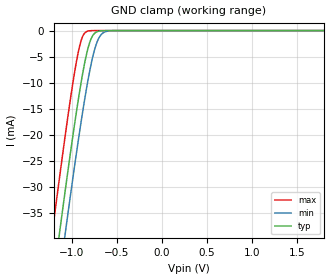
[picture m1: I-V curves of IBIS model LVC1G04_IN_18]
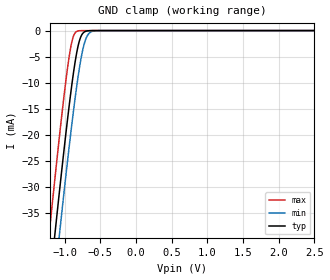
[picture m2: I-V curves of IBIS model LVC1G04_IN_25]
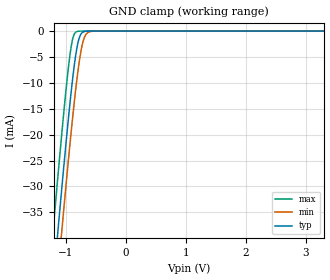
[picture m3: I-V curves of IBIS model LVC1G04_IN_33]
| TEXAS INSTRUMENTS INCORPORATED
| Standard Linear and Logic Group
| IBIS Model of SN74LVC1G04
| SINGLE INVERTER GATE
| This file contains package information for the following:
|  SON 6-pin (DSF) package as [Component] LVC1G04_DSF
|  SOT 5-pin (DCK) package as [Component] LVC1G04_DCK
|  SOT 5-pin (DBV) package as [Component] LVC1G04_DBV
|  NanoStar WCSP 5-pin (YEA) package as [Component] LVC1G04_YEA
|  NanoFree WCSP 5-pin (YZA) package as [Component] LVC1G04_YZA
|  NanoStar WCSP 5-pin (YEP) package as [Component] LVC1G04_YEP
|  NanoFree WCSP 5-pin (YZP) package as [Component] LVC1G04_YZP
| This device can be powered at the following Vccs:
|  1.8 volt Vcc
|  2.5 volt Vcc
|  3.3 volt Vcc
|  5 volt Vcc
| This file provides unique models under the [Model Selector] for each Vcc.
| For operation at a specific Vcc, select the appropriate model after each
| [Model Selector] keyword.
[IBIS Ver]   3.2
[Comment char]  |_char
[File Name]   sn74lvc1g04.ibs
[File Rev]   1.4 | d_die
[Date]   03/05/2014
[Source]
| Texas Instruments Incorporated.
| Analog-eLab Design Center, HPA
| 12500 TI Blvd
| Dallas, TX -75243
[Notes]   Revision History:
| The following is an IBIS list for the SN74LVC1G04.
| Please contact sllibis@ti.com with questions and
| comments concerning SLL IBIS models.
| - FILE REV HISTORY
| - 1.2 YEA, YZA, YEP, and YZP packages added on 08/17/04
| - The SN74LVC1G04 inputs have no power clamp diode.
|   Therefore, the input power clamp data has been deleted.
| - Due to the fact that the Device is 5.5-V Input tolarent,
|   the pulldown model has some Non-Monotonic Warnings.
| - End point warning due to AC and DC mismatch.
| - 1.3 Modified R_load to 50 ohm for rising/falling data
| - 1.4 DSF package added 03/05/2014.
[Disclaimer]
| Property of Texas Instruments Incorporated.  Unauthorized
| reproduction and/or distribution is strictly prohibited.
| This product is protected under copyright law.
| Created  2007, (C) Copyright  2007, Texas Instruments
| Incorporated, All Rights Reserved
| UNLESS THERE IS A SIGNED, WRITTEN AGREEMENT TO THE
| CONTRARY, TEXAS INSTRUMENTS (TI) IS PROVIDING THE IBIS
| MODELS  AND WITHOUT ANY WARRANTY, EXPRESSED OR
| MPLIED.  TI assumes no liability for:
|  1) the accuracy of the IBIS models provided to your
|   company;
|  2) the proper functioning of these IBIS Models in your
|   design or for any resulting applications; or
|  3) infringement of patents, copyrights or intellectual
|   property rights resulting from your use of these IBIS
|   models.
| TI provides IBIS Models as a service to our customers.
| You and your company shall not distribute, sell or give
| these models to anyone else without prior written
| permission from TI.
| TI reserves the right to make changes to our products or
| to discontinue any semiconductor product or service
| without notice, and advises our customers to obtain the
| latest version of relevant information to verify, before
| placing orders, that the information being relied on is
| current.
| Please be aware that your receipt and use of the IBIS
| information provided shall serve as acceptance of these
| terms and conditions.  If you do not accept these terms,
| you should return or destroy the IBIS models and any
| other accompanying information immediately.
[Copyright]
(C) Copyright 2014 Texas Instruments Incorporated.All rights reserved.
| Component LVC1G04_DSF 6-pin SON
[Component]   LVC1G04_DSF
[Manufacturer]   Texas Instruments, Inc.
[Package]
|   typ   min   max
R_pkg   0.041145   0.03325   0.04904
L_pkg   0.422435nH  0.33414nH   0.51073nH
C_pkg   0.109645pF  0.10407pF   0.11522pF
[Pin]   signal_name   model_name   R_pin   L_pin   C_pin
1   nc   nc   0.00109   0.02796nH   0.07413pF
2   A   LVC1G04_IN   0.03325   0.33414nH   0.10407pF
3   GND   GND   0.04429   0.45885nH   0.11133pF
4   Y   LVC1G04_OUT   0.04904   0.51073nH   0.11522pF
5   nc   nc   0.00037   0.03788nH   0.07652pF
6   VCC   POWER   0.04377   0.44894nH   0.11085pF
| Component LVC1G04_DCK 5-pin SOT
[Component]   LVC1G04_DCK
[Manufacturer]   Texas Instruments, Inc.
[Package]
|   typ   min   max
R_pkg   2.000e-02   1.700e-02   2.500e-02
L_pkg   9.980e-10   8.810e-10   1.069e-09
C_pkg   1.460e-13   1.180e-13   2.050e-13
[Pin]   signal_name   model_name   R_pin   L_pin   C_pin
1   nc   nc   1.900e-02   1.069e-09   1.620e-13
2   A   LVC1G04_IN   1.800e-02   8.810e-10   1.210e-13
3   GND   GND   1.700e-02   1.031e-09   2.050e-13
4   Y   LVC1G04_OUT   2.000e-02   9.600e-10   1.240e-13
5   VCC   POWER   2.500e-02   1.049e-09   1.180e-13
| Component LVC1G04_DBV 5-pin SOT
[Component]   LVC1G04_DBV
[Manufacturer]   Texas Instruments, Inc.
[Package]
|   typ   min   max
R_pkg   2.500e-02   2.100e-02   2.900e-02
L_pkg   1.529e-09   1.312e-09   1.906e-09
C_pkg   1.560e-13   1.100e-13   2.400e-13
[Pin]   signal_name   model_name   R_pin   L_pin   C_pin
1   nc   nc   2.100e-02   1.511e-09   1.440e-13
2   A   LVC1G04_IN   2.300e-02   1.312e-09   1.380e-13
3   GND   GND   2.900e-02   1.906e-09   2.400e-13
4   Y   LVC1G04_OUT   2.600e-02   1.541e-09   1.500e-13
5   VCC   POWER   2.500e-02   1.374e-09   1.100e-13
| Component LVC1G04_YEA 5-pin NanoStar WCSP
[Component]   LVC1G04_YEA
[Manufacturer]   Texas Instruments, Inc.
[Package]
|   typ   min   max
R_pkg   0.001   0.001   0.001
L_pkg   0.021nH   0.021nH   0.021nH
C_pkg   0.046pF   0.045pF   0.047pF
[Pin]   signal_name   model_name   R_pin   L_pin   C_pin
1   DNU   NC   0.001   0.021nH   0.046pF
2   A   LVC1G04_IN   0.001   0.021nH   0.047pF
3   GND   GND   0.001   0.021nH   0.046pF
4   Y   LVC1G04_OUT   0.001   0.021nH   0.045pF
5   VCC   POWER   0.001   0.021nH   0.045pF
| Component LVC1G04_YZA 5-pin NanoFree WCSP
[Component]   LVC1G04_YZA
[Manufacturer]   Texas Instruments, Inc.
[Package]
|   typ   min   max
R_pkg   0.001   0.001   0.001
L_pkg   0.021nH   0.021nH   0.021nH
C_pkg   0.046pF   0.045pF   0.047pF
[Pin]   signal_name   model_name   R_pin   L_pin   C_pin
1   DNU   NC   0.001   0.021nH   0.046pF
2   A   LVC1G04_IN   0.001   0.021nH   0.047pF
3   GND   GND   0.001   0.021nH   0.046pF
4   Y   LVC1G04_OUT   0.001   0.021nH   0.045pF
5   VCC   POWER   0.001   0.021nH   0.045pF
| Component LVC1G04_YEP 5-pin NanoStar WCSP
[Component]   LVC1G04_YEP
[Manufacturer]   Texas Instruments, Inc.
[Package]
|   typ   min   max
R_pkg   0.001   0.001   0.001
L_pkg   0.021nH   0.021nH   0.021nH
C_pkg   0.046pF   0.045pF   0.047pF
[Pin]   signal_name   model_name   R_pin   L_pin   C_pin
1   DNU   NC   0.001   0.021nH   0.046pF
2   A   LVC1G04_IN   0.001   0.021nH   0.047pF
3   GND   GND   0.001   0.021nH   0.046pF
4   Y   LVC1G04_OUT   0.001   0.021nH   0.045pF
5   VCC   POWER   0.001   0.021nH   0.045pF
| Component LVC1G04_YZP 5-pin NanoFree WCSP
[Component]   LVC1G04_YZP
[Manufacturer]   Texas Instruments, Inc.
[Package]
|   typ   min   max
R_pkg   0.001   0.001   0.001
L_pkg   0.021nH   0.021nH   0.021nH
C_pkg   0.046pF   0.045pF   0.047pF
[Pin]   signal_name   model_name   R_pin   L_pin   C_pin
1   DNU   NC   0.001   0.021nH   0.046pF
2   A   LVC1G04_IN   0.001   0.021nH   0.047pF
3   GND   GND   0.001   0.021nH   0.046pF
4   Y   LVC1G04_OUT   0.001   0.021nH   0.045pF
5   VCC   POWER   0.001   0.021nH   0.045pF
| Model LVC1G04_IN
[Model Selector]   LVC1G04_IN
LVC1G04_IN_18   1.8 volt Vcc
LVC1G04_IN_25   2.5 volt Vcc
LVC1G04_IN_33   3.3 volt Vcc
LVC1G04_IN_50   5 volt Vcc
| Model LVC1G04_OUT
[Model Selector]   LVC1G04_OUT
LVC1G04_OUT_18   1.8 volt Vcc
LVC1G04_OUT_25   2.5 volt Vcc
LVC1G04_OUT_33   3.3 volt Vcc
LVC1G04_OUT_50   5 volt Vcc
| Models and submodels in the file (8): LVC1G04_IN_18 (Input), LVC1G04_IN_25 (Input), LVC1G04_IN_33 (Input), LVC1G04_IN_50 (Input), LVC1G04_OUT_18 (Output), LVC1G04_OUT_25 (Output), LVC1G04_OUT_33 (Output), LVC1G04_OUT_50 (Output)
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[Model]   LVC1G04_IN_18
Model_type  Input
Vinl=0.5775
Vinh=1.2675
| variable   typ   min   max
C_comp   3.63pF   2.97pF   4.55pF
[Temperature Range]   40   100   -40
| Ambient temperature   25   85   -40
[Voltage range]   1.8   1.65   1.95
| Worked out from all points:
|   GND clamp passes 1 mA (typ) near -0.77 V on its own axis
[GND Clamp]
| LVC1G04_IN_18
|   Voltage   I(typ)   I(min)   I(max)
-5.5V     -655.2mA   -662.2mA   -646.6mA
-1.215V   -49.6mA    -57.88mA   -38.96mA
-1.135V   -39.07mA   -47.36mA   -28.42mA
-1.075V   -31.35mA   -39.6mA    -20.75mA
-1.055V   -28.82mA   -37.05mA   -18.27mA
-955mV    -16.68mA   -24.66mA   -6.874mA
-885mV    -9.098mA   -16.55mA   -1.486mA
-825mV    -3.922mA   -10.26mA   -137.1uA
-780mV    -1.472mA   -6.227mA   -17.15uA
-715mV    -205.4uA   -2.128mA   -808.5nA
-650mV    -22.01uA   -443.9uA   -37.93nA
1.8V      3.326pA    6.142pA    3.026pA
[Model]   LVC1G04_IN_25
Model_type  Input
Vinl=0.7
Vinh=1.7
| variable   typ   min   max
C_comp   3.56pF   2.85pF   4.65pF
[Temperature Range]   40   100   -40
| Ambient temperature   25   85   -40
[Voltage range]   2.5   2.3   2.7
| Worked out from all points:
|   GND clamp passes 1 mA (typ) near -0.77 V on its own axis
[GND Clamp]
| LVC1G04_IN_25
|   Voltage   I(typ)   I(min)   I(max)
-5.5V     -655.2mA   -662.2mA   -646.6mA
-1.215V   -49.6mA    -57.88mA   -38.96mA
-1.14V    -39.72mA   -48.01mA   -29.07mA
-1.12V    -37.12mA   -45.41mA   -26.48mA
-1.08V    -31.98mA   -40.25mA   -21.38mA
-1.06V    -29.44mA   -37.69mA   -18.89mA
-960mV    -17.26mA   -25.26mA   -7.377mA
-890mV    -9.597mA   -17.1mA    -1.734mA
-785mV    -1.671mA   -6.635mA   -21.67uA
-720mV    -242.5uA   -2.354mA   -1.023uA
-650mV    -22.01uA   -443.9uA   -37.93nA
2.5V      4.713pA    7.577pA    4.389pA
[Model]   LVC1G04_IN_33
Model_type  Input
Vinl=0.8
Vinh=2.0
| variable   typ   min   max
C_comp   3.48pF   2.71pF   4.74pF
[Temperature Range]   40   100   -40
| Ambient temperature   25   85   -40
[Voltage range]   3.3   3   3.6
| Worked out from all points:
|   GND clamp passes 1 mA (typ) near -0.77 V on its own axis
[GND Clamp]
| LVC1G04_IN_33
|   Voltage   I(typ)   I(min)   I(max)
-5.5V     -655.2mA   -662.2mA   -646.6mA
-1.225V   -50.93mA   -59.21mA   -40.3mA
-1.145V   -40.37mA   -48.66mA   -29.72mA
-1.12V    -37.12mA   -45.41mA   -26.48mA
-1.08V    -31.98mA   -40.25mA   -21.38mA
-1.06V    -29.44mA   -37.69mA   -18.89mA
-965mV    -17.84mA   -25.87mA   -7.89mA
-885mV    -9.098mA   -16.55mA   -1.486mA
-780mV    -1.472mA   -6.227mA   -17.15uA
-715mV    -205.4uA   -2.128mA   -808.5nA
-640mV    -15.53uA   -338.1uA   -23.69nA
3.3V      6.304pA    9.258pA    5.93pA
